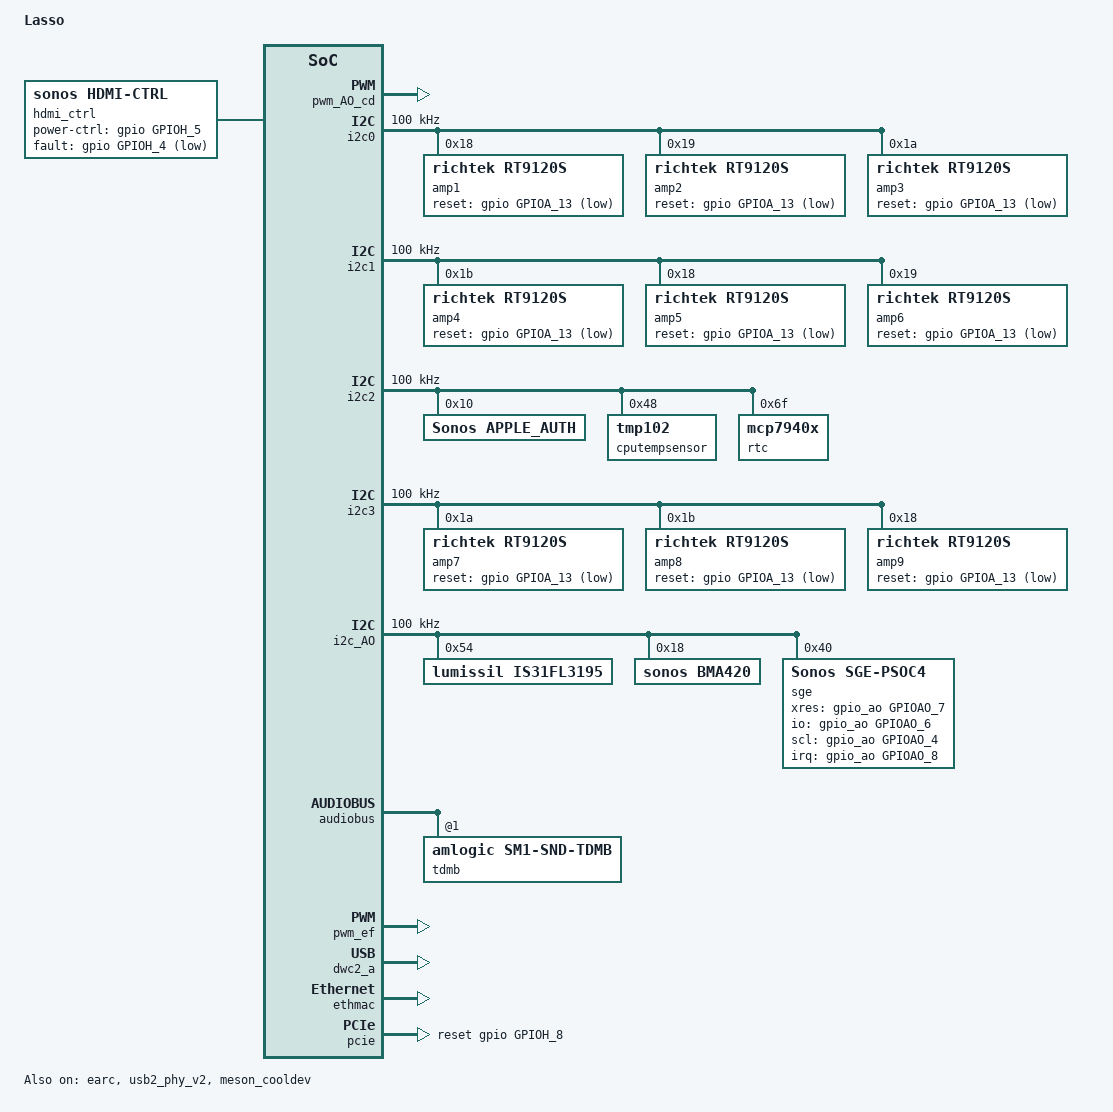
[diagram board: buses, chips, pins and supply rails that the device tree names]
/*
 * Copyright (c) 2022-2023, Sonos, Inc.
 *
 * SPDX-License-Identifier:     GPL-2.0
 *
 */
/dts-v1/;

#include "sm1_s905d3_ac200_drm.dts"

/ {
	model = "Lasso";
	amlogic-dt-id = "sm1_ac200_2g";
	compatible = "amlogic, g12a";
	interrupt-parent = <&gic>;
	#address-cells = <2>;
	#size-cells = <2>;

	sonos-product-id = <0x05>;

	dolby_fw {
		compatible = "amlogic, dolby_fw";
		mem_size = <0x100000>;
		status = "enabled";
	};

	sonos-platform {
		/* Sonos platform specific values for shared driver source & binaries */
		sonos-ampctl {
			/* Alpine has one amp fault.  It has three control lines.*/
			status = "okay";
			hw-inits-index = <1>;
			hw-exits-index = <1>;
			using-i2c-amp;
			ignore-startup-faults;
			allow-auto-recovery;

			sonos-ampfaults {
				num-faults = <0x01>;
				status = "okay";

				ampfault@0 {
					fault-gpio = <&gpio GPIOA_12 GPIO_ACTIVE_LOW>;
					fault-flags = <IRQ_TYPE_EDGE_FALLING>;
					fault-label = "Amp fault";
				};
			};
		};

		misc-gpio {
			pairing-button  = <&gpio GPIOX_13 GPIO_ACTIVE_LOW>;
			no-irq;
			wall-mount = <&gpio GPIOZ_15 GPIO_ACTIVE_HIGH>;
		};
		gpio-switch {
			compatible = "sonos,gpio-switch";
			micmute = <&gpio_ao GPIOAO_9 GPIO_ACTIVE_HIGH>;
		};
		simulated-buttons {
			/* event-sources are offsets from EVTSOURCE_BUTTON_PLAYPAUSE
			 * some generate an event for more than one source
			 */
			power {
				event-sources = <5>;
				no-repeat-sim;
			};
			pairing {
				event-sources = <7>;
				no-repeat-sim;
			};
		};
		thermal-mgmt {
			CPU {
				fault-temperature = <95>;
				warn-temperature = <91>;
				compatible = "sonos,temp-ncu15";
				adc-channel = <1>;
				temperature-map {
					num-ranges = <10>;
					// max mV for range, a in range, b in range
					//   (linear ax +- b)
					//
					map-values = <  1000	375	398060
							1500	249	273050
							2000	254	279520
							2400	271	313370
							2750	305	395220
							3000	358	540770
							3250	448	811180
							3500	605	1323700
							3700	1095	3039800
							4096	1386	4118700 >;
				};
			};
			SOC {
				compatible = "amlogic, s767_temp";
				fault-temperature = <105>;
				warn-temperature = <105>;
			};
		};
		psoc_gpios: gpiochip4 {
			compatible = "sonos,psoc-gpio";
			gpio-controller;
			num-gpios = <1>;
			#gpio-cells = <2>;
			status = "okay";
		};
		micctl_gpio:sonos-gpio-micctl {
			compatible = "sonos,gpio-mics";
			micctl-gpio = <&psoc_gpios 0 GPIO_ACTIVE_HIGH>;
		};
		micctl@1 {
			compatible = "sonos,micctl";
			micctl-device = <&micctl_gpio>;
		};
	};

	hdmi_ctrl {
		compatible = "sonos,hdmi-ctrl";
		power-ctrl-gpio = <&gpio GPIOH_5 GPIO_ACTIVE_HIGH>;
		fault-gpio = <&gpio GPIOH_4 GPIO_ACTIVE_LOW>;
		songle-adc-device = <0>;
		songle-adc-channel = <3>;
		/* Nominal Songle voltage = 110/2^10*1.8V = 194mV */
		songle-adc-high = <160>;        /* 150/2^10*1.8V = 264mV */
		songle-adc-low = <120>;          /* 70/2^10*1.8V = 123mV */
		status = "okay";
	};

	meson-ir {
		status = "okay";
		protocol = <REMOTE_TYPE_RAW_NEC>;
		pinctrl-names = "default";
	};

	ir-rcvr {
		compatible = "sonos,ir-rcvr";
		status = "okay";
	};
	thermal-zones {
		cputhermal: cputhermal {
			polling-delay-passive = <1000>;
			polling-delay = <1000>;
			/* sensor ID */
			thermal-sensors = <&cputempsensor 0>;
		};
	};

	aliases {
		serial0 = &uart_AO;
		serial1 = &uart_A;
		serial2 = &uart_B;
		serial3 = &uart_C;
		serial4 = &uart_AO_B;
		tsensor0 = &p_tsensor;
		tsensor1 = &d_tsensor;
		i2c0 = &i2c0;
		i2c1 = &i2c1;
		i2c2 = &i2c2;
		i2c3 = &i2c3;
		i2c4 = &i2c_AO;
		spicc0 = &spicc0;
		spicc1 = &spicc1;
	};

	bt-dev{
		compatible = "amlogic, bt-dev";
		dev_name = "bt-dev";
		status = "disabled";
		gpio_reset = <&gpio       GPIOX_17       GPIO_ACTIVE_HIGH>;
		gpio_hostwake = <&gpio       GPIOX_19       GPIO_ACTIVE_HIGH>;
	};

	amvdec_656in {
		status = "disabled";

		bt656in1 {
			status = "disabled";
		};
	};

	amlvecm {
		compatible = "amlogic, vecm";
		dev_name = "aml_vecm";
		status = "okay";
		gamma_en = <0>;/*1:enabel ;0:disable*/
		wb_en = <0>;/*1:enabel ;0:disable*/
		cm_en = <0>;/*1:enabel ;0:disable*/
		/*0: 709/601  1: bt2020*/
		tx_op_color_primary = <0>;
	};

	amdolby_vision {
		compatible = "amlogic, dolby_vision_sm1";
		dev_name = "aml_amdolby_vision_driver";
		status = "okay";
		tv_mode = <0>;/*1:enabel ;0:disable*/
	};

	/* --------------- Audio Related start --------------- */
	tdm_codec:dummy {
		#sound-dai-cells = <0>;
		compatible = "amlogic,aml_dummy_codec";
		stream-name = "0-dac";
		rate = <44100>;    /* We use 44.1 KHz as the audio output rate */
		format = "S32_LE"; /* We use signed 24-bit little endian samples in a 32-bit word */
		channels = <24>;    /* Number of playback channels on Lasso is 15 (3 lanes of 3 amps x 2 ch each)
							  plus 2 unused channels on each lane. */
		status = "okay";
	};
	pdm_codec:dummy {
		#sound-dai-cells = <0>;
		compatible = "amlogic,pdm_dummy_codec";
		stream-name = "1-mic";
		rate = <48000>;    /* We use 48 KHz as the audio input rate. */
		format = "S32_LE"; /* We use signed 24-bit little endian samples in 32-bit words */
		channels = <6>;    /* Number of capture channels on Lasso is 6 */
		capture;           /* Set the stream direction to capture. Note: Default without this boolean flag 
							  is playback */
		status = "okay";
	};
	earc_codec:dummy{
		#sound-dai-cells = <0>;
		compatible = "amlogic, aml_dummy_codec";
		capture;
		status = "okay";
	};

	audiolocker: locker {
		compatible = "amlogic, audiolocker";
		clocks = <&clkaudio CLKID_AUDIO_LOCKER_OUT
				&clkaudio CLKID_AUDIO_LOCKER_IN
				&clkaudio CLKID_AUDIO_MCLK_D
				&clkaudio CLKID_AUDIO_MCLK_E
				&clkc CLKID_MPLL1
				&clkc CLKID_MPLL2>;
		clock-names = "lock_out", "lock_in", "out_src",
					"in_src", "out_calc", "in_ref";
		interrupts = <GIC_SPI 1 IRQ_TYPE_EDGE_RISING>;
		interrupt-names = "irq";
		frequency = <49000000>; /* pll */
		dividor = <49>; /* locker's parent */
		status = "disabled";
	};

	tuner: tuner {
		compatible = "amlogic, tuner";
		status = "disabled";
		tuner_name = "mxl661_tuner";
		tuner_i2c_adap = <&i2c1>;
		tuner_i2c_addr = <0x60>;
		tuner_xtal = <0>; /* 0: 16MHz, 1: 24MHz */
		tuner_xtal_mode = <0>;
					/* NO_SHARE_XTAL(0)
					 * SLAVE_XTAL_SHARE(1)
					 */
		tuner_xtal_cap = <30>; /* when tuner_xtal_mode = 1, set 25 */
	};


	sonos_rollback:sonos-rollback@ff800000 {
		compatible = "sonos,sonos-rollback";
		reg = <0x0 0xff800000 0x0 0x4>;
		offset = <0x00>;
		shift = <0>;
	};

	efuse: efuse {
		compatible = "amlogic, efuse";
		read_cmd = <0x82000030>;
		write_cmd = <0x82000031>;
		get_max_cmd = <0x82000033>;
		read_obj_cmd = <0x82000038>;
		write_obj_cmd = <0x82000039>;
		mem_in_base_cmd = <0x82000020>;
		mem_out_base_cmd = <0x82000021>;
		key = <&efusekey>;
		clocks = <&clkc CLKID_EFUSE>;
		clock-names = "efuse_clk";
		status = "okay";
	};

	cpu_iomap {
		compatible = "amlogic, iomap";
		#address-cells=<2>;
		#size-cells=<2>;
		ranges;
		io_cbus_base {
			reg = <0x0 0xffd00000 0x0 0x26fff>;
		};
		io_apb_base {
			reg = <0x0 0xffe01000 0x0 0x7f000>;
		};
		io_aobus_base {
			reg = <0x0 0xff800000 0x0 0xb000>;
		};
		io_vapb_base {
			reg = <0x0 0xff900000 0x0 0x50000>;
		};
		io_hiu_base {
			reg = <0x0 0xff63c000 0x0 0x2000>;
		};
	};

	auge_sound {
		/delete-property/ avout_mute-gpios;
		/delete-node/ aml-audio-card,dai-link@0;
		/delete-node/ aml-audio-card,dai-link@2;
		// /delete-node/ aml-audio-card,dai-link@4;
		// /delete-node/ aml-audio-card,dai-link@5;

		aml-audio-card,dai-link@1 {
			format = "dsp_b";
			mclk-fs = <1024>;
			//continuous-clock;
			//bitclock-inversion;
			//frame-inversion;
			/* master mode */
			bitclock-master = <&tdmb>;
			frame-master = <&tdmb>;
			/* slave mode */
			//bitclock-master = <&tdmbcodec>;
			//frame-master = <&tdmbcodec>;
			/* suffix-name, sync with android audio hal
			 * what's the dai link used for
			 */
			suffix-name = "alsaPORT-pcm";

			/* suspend disable clk */
			/* FIXME revisit */
			suspend-clk-off = <1>;

			cpu {
				sound-dai = <&tdmb>;
				// Lasso: at most, 6 channels are used in each lane (3 stereo amps), but we need to configure
				// it for 8 channels so that the current sensing ADC for MBB are run at the right rate.
				dai-tdm-slot-tx-mask =
							<1 1 1 1 1 1 1 1>;
				dai-tdm-slot-rx-mask =
							<1 1 0 0 0 0 0 0>;
				dai-tdm-slot-num = <8>;
				dai-tdm-slot-width = <32>;
				system-clock-frequency = <45158400>;  // 1024 x 44,100 (8ch @11.2MHz, 4ch @5.6MHz)
			};
			tdmbcodec: codec {
				prefix-names = "Sonos TDM out";
				sound-dai = <&tdm_codec &tdm_codec>;
			};
		};

		aml-audio-card,dai-link@6 {
			mclk-fs = <256>;
			continuous-clock;
			suffix-name = "alsaPORT-earc";
			cpu {
				sound-dai = <&earc>;
				system-clock-frequency = <12288000>;
			};
			codec {
				sound-dai = <&dummy_codec>;
			};
		};
	};

	pwm_psoc: pwm@0 {
		compatible = "sonos,psoc-pwm";
		#pwm-cells = <3>;
		label = "pwm-psoc";
		status = "okay";
	};

	pwm_micro {
		pwms = <&pwm_psoc 0 1000 0>;
		status = "disabled";
	};
};

&soc {
	/delete-node/ t9015;
};

&pwm_AO_cd {
		status = "okay";
};

&i2c0 {
	status = "okay";
	pinctrl-names="default";
	pinctrl-0=<&i2c0_sda_c_pins>, <&i2c0_sck_c_pins>;
	clock-frequency = <100000>;

	/* Richtek AMPS
	 * rt9120s
	 * Nine amps, amp4 & amp5 use PBTL mode and the rest use BTL mode
	 */
	amp1: rt9120s@18 {
		compatible = "richtek,rt9120s";
		reg = <0x18>;
		dev-id = <0x1>;
		first-amp-devid = <7>;
		shared-reset;
		mask-faults;
		reset-gpio = <&gpio GPIOA_13 GPIO_ACTIVE_LOW>;
		post-reset-delay = <10>;
		stage-delay = <20>;
		post-pause-delay = <100>;
		number-init-stages = <2>;
		init-sequence-length1 = <1>;
		reg-init1 = <0x40 0x80>;
		init-sequence-length2 = <15>;
		reg-init2 = < 0x63 0xDE 0x6C 0xC0 0x07 0x36 0x65 0x66 0x06 0x28
			0x02 0x03 0xA0 0x01 0xA1 0x08 0xA2 0x0C 0x27 0x01B0
			0x20 0x0180 0x0C 0x38 0x09 0x81 0x6E 0x1D 0x10 0x00>;
		play-a1-a2 = <0x00 0x04>;
		status = "okay";
	};

	amp2: rt9120s@19 {
		compatible = "richtek,rt9120s";
		reg = <0x19>;
		dev-id = <0x2>;
		first-amp-devid = <7>;
		shared-reset;
		reset-gpio = <&gpio GPIOA_13 GPIO_ACTIVE_LOW>;
		post-reset-delay = <10>;
		stage-delay = <20>;
		post-pause-delay = <100>;
		number-init-stages = <2>;
		init-sequence-length1 = <1>;
		reg-init1 = <0x40 0x80>;
		init-sequence-length2 = <15>;
		reg-init2 = < 0x63 0xDE 0x6C 0xC0 0x07 0x36 0x65 0x66 0x06 0x28
			0x02 0x03 0xA0 0x01 0xA1 0x08 0xA2 0x0C 0x27 0x01B0
			0x20 0x0180 0x0C 0x38 0x09 0x81 0x6E 0x1D 0x10 0x00>;
		play-a1-a2 = <0x08 0x0C>;
		status = "okay";
	};

	amp3: rt9120s@1a {
		compatible = "richtek,rt9120s";
		reg = <0x1a>;
		dev-id = <0x3>;
		first-amp-devid = <7>;
		shared-reset;
		reset-gpio = <&gpio GPIOA_13 GPIO_ACTIVE_LOW>;
		post-reset-delay = <10>;
		stage-delay = <20>;
		post-pause-delay = <100>;
		number-init-stages = <2>;
		init-sequence-length1 = <1>;
		reg-init1 = <0x40 0x80>;
		init-sequence-length2 = <15>;
		reg-init2 = < 0x63 0xDE 0x6C 0xC0 0x07 0x36 0x65 0x66 0x06 0x28
			0x02 0x03 0xA0 0x01 0xA1 0x08 0xA2 0x0C 0x27 0x01B0
			0x20 0x0180 0x0C 0x38 0x09 0x81 0x6E 0x1D 0x10 0x00>;
		play-a1-a2 = <0x10 0x14>;
		status = "okay";
	};
};

&i2c1 {
	status = "okay";
	pinctrl-names="default";
	pinctrl-0=<&i2c1_sda_x_pins>, <&i2c1_sck_x_pins>;
	clock-frequency = <100000>;

	amp4: rt9120s@1b {
		compatible = "richtek,rt9120s";
		reg = <0x1b>;
		dev-id = <0x4>;
		first-amp-devid = <7>;
		shared-reset;
		parallel-play;
		reset-gpio = <&gpio GPIOA_13 GPIO_ACTIVE_LOW>;
		post-reset-delay = <10>;
		stage-delay = <20>;
		post-pause-delay = <100>;
		number-init-stages = <2>;
		init-sequence-length1 = <1>;
		reg-init1 = <0x40 0x80>;
		init-sequence-length2 = <17>;
		reg-init2 = < 0x63 0xDE 0x6C 0xC0 0x07 0x36 0x65 0x77 0x06 0x28
			0x02 0x03 0xA0 0x01 0xA1 0x08 0xA2 0x0C 0x15 0x40
			0x64 0x59 0x27 0x01B0 0x20 0x0180 0x0C 0x38 0x09 0x81
			0x6E 0x1D 0x10 0x00>;
		play-a1-a2 = <0x00 0x04>;
		status = "okay";
	};

	amp5: rt9120s@18 {
		compatible = "richtek,rt9120s";
		reg = <0x18>;
		dev-id = <0x5>;
		first-amp-devid = <7>;
		shared-reset;
		parallel-play;
		reset-gpio = <&gpio GPIOA_13 GPIO_ACTIVE_LOW>;
		post-reset-delay = <10>;
		stage-delay = <20>;
		post-pause-delay = <100>;
		number-init-stages = <2>;
		init-sequence-length1 = <1>;
		reg-init1 = <0x40 0x80>;
		init-sequence-length2 = <17>;
		reg-init2 = < 0x63 0xDE 0x6C 0xC0 0x07 0x36 0x65 0x77 0x06 0x28
			0x02 0x03 0xA0 0x01 0xA1 0x08 0xA2 0x0C 0x15 0x40
			0x64 0x59 0x27 0x01B0 0x20 0x0180 0x0C 0x38 0x09 0x81
			0x6E 0x1D 0x10 0x00>;
		play-a1-a2 = <0x00 0x04>;
		status = "okay";
	};

	amp6: rt9120s@19 {
		compatible = "richtek,rt9120s";
		reg = <0x19>;
		dev-id = <0x6>;
		first-amp-devid = <7>;
		shared-reset;
		reset-gpio = <&gpio GPIOA_13 GPIO_ACTIVE_LOW>;
		post-reset-delay = <10>;
		stage-delay = <20>;
		post-pause-delay = <100>;
		number-init-stages = <2>;
		init-sequence-length1 = <1>;
		reg-init1 = <0x40 0x80>;
		init-sequence-length2 = <15>;
		reg-init2 = < 0x63 0xDE 0x6C 0xC0 0x07 0x36 0x65 0x66 0x06 0x28
			0x02 0x03 0xA0 0x01 0xA1 0x08 0xA2 0x0C 0x27 0x01B0
			0x20 0x0180 0x0C 0x38 0x09 0x81 0x6E 0x1D 0x10 0x00>;
		play-a1-a2 = <0x08 0x0C>;
		status = "okay";
	};
};

&i2c2 {
	status = "okay";
	pinctrl-names="default";
	pinctrl-0=<&i2c2_sda_x_pins>, <&i2c2_sck_x_pins>;
	clock-frequency = <100000>;

	apple_auth@0 {
		compatible = "Sonos,apple_auth";
		reg = <0x10>;
	};

	cputempsensor: tmp102@48 {
		compatible = "tmp102";
		reg = <0x48>;
		device_type="CPU";
		#thermal-sensor-cells = <1>;
    };

	rtc: mcp7940x@6f {
		compatible = "mcp7940x";
		reg = <0x6f>;
		interrupt-parent = <&gpio_intc>;
		interrupts = <GPIOAO_4 IRQ_TYPE_EDGE_FALLING>;
	};
};

&i2c3 {
	status = "okay";
	pinctrl-names = "default";
	pinctrl-0 = <&i2c3_sda_a_pins>, <&i2c3_sck_a_pins>;
	clock-frequency = <100000>; /* default 100k */

	/delete-node/ ad82584f@31;

	amp7: rt9120s@1a {
		compatible = "richtek,rt9120s";
		reg = <0x1a>;
		dev-id = <0x7>;
		first-amp-devid = <7>;
		shared-reset;
		reset-gpio = <&gpio GPIOA_13 GPIO_ACTIVE_LOW>;
		post-reset-delay = <10>;
		stage-delay = <20>;
		post-pause-delay = <100>;
		number-init-stages = <2>;
		init-sequence-length1 = <1>;
		reg-init1 = <0x40 0x80>;
		init-sequence-length2 = <15>;
		reg-init2 = < 0x63 0xDE 0x6C 0xC0 0x07 0x36 0x65 0x66 0x06 0x28
			0x02 0x03 0xA0 0x01 0xA1 0x08 0xA2 0x0C 0x27 0x01B0
			0x20 0x0180 0x0C 0x38 0x09 0x81 0x6E 0x1D 0x10 0x00>;
		play-a1-a2 = <0x00 0x04>;
		status = "okay";
	};

	amp8: rt9120s@1b {
		compatible = "richtek,rt9120s";
		reg = <0x1b>;
		dev-id = <0x8>;
		first-amp-devid = <7>;
		shared-reset;
		reset-gpio = <&gpio GPIOA_13 GPIO_ACTIVE_LOW>;
		post-reset-delay = <10>;
		stage-delay = <20>;
		post-pause-delay = <100>;
		number-init-stages = <2>;
		init-sequence-length1 = <1>;
		reg-init1 = <0x40 0x80>;
		init-sequence-length2 = <15>;
		reg-init2 = < 0x63 0xDE 0x6C 0xC0 0x07 0x36 0x65 0x66 0x06 0x28
			0x02 0x03 0xA0 0x01 0xA1 0x08 0xA2 0x0C 0x27 0x01B0
			0x20 0x0180 0x0C 0x38 0x09 0x81 0x6E 0x1D 0x10 0x00>;
		play-a1-a2 = <0x08 0x0C>;
		status = "okay";
	};

	amp9: rt9120s@18 {
		compatible = "richtek,rt9120s";
		reg = <0x18>;
		dev-id = <0x9>;
		first-amp-devid = <7>;
		shared-reset;
		reset-gpio = <&gpio GPIOA_13 GPIO_ACTIVE_LOW>;
		post-reset-delay = <10>;
		stage-delay = <20>;
		post-pause-delay = <100>;
		number-init-stages = <2>;
		init-sequence-length1 = <1>;
		reg-init1 = <0x40 0x80>;
		init-sequence-length2 = <15>;
		reg-init2 = < 0x63 0xDE 0x6C 0xC0 0x07 0x36 0x65 0x66 0x06 0x28
			0x02 0x03 0xA0 0x01 0xA1 0x08 0xA2 0x0C 0x27 0x01B0
			0x20 0x0180 0x0C 0x38 0x09 0x81 0x6E 0x1D 0x10 0x00>;
		play-a1-a2 = <0x10 0x14>;
		status = "okay";
	};
};

&i2c_AO {
	status = "okay";
	pinctrl-names="default";
	pinctrl-0=<&i2c_ao_sck_pins>;
	clock-frequency = <100000>;

	is31fl3195@54 {  // LED controller
		compatible = "lumissil,is31fl3195";
		status = "okay";
		reg = <0x54>;
	};

	bma420@0 {  // accelerometer
		compatible = "sonos,bma420";
		status = "okay";
		reg = <0x18>;
		motion-detection-mode;
		music-impacts-z-axis;
		reinit-on-resume;
	};

	sge@0 {  // Sigdetail Gesture Engine
		compatible = "Sonos,sge-psoc4";
		pinctrl-names = "mode-uart-hiz", "mode-flow-ctrl";
		pinctrl-0 = <>;
		pinctrl-1 = <>;
		reg = <0x40>;
		gpio-addr = <0xff800000 0x130 0x34 0x0 0x28 0x34 0x0 0x28>;
		gpio-params = "base-addr", "len", "io-set", "io-clr", "io-din", "scl-set", "scl-clr", "scl-din";
		scl-bitmask =  <0x000010>;
		io-bitmask  =  <0x000040>;
		xres-gpio = <&gpio_ao GPIOAO_7 GPIO_ACTIVE_HIGH>;
		io-gpio   = <&gpio_ao GPIOAO_6 GPIO_ACTIVE_HIGH>;
		scl-gpio  = <&gpio_ao GPIOAO_4 GPIO_ACTIVE_HIGH>;
		irq-gpio  = <&gpio_ao GPIOAO_8 GPIO_ACTIVE_HIGH>;
		share-swd-uart = <0>;
		psoc-rtc = <0>;
		leanui-layout-proto;
		psoc-flash-verify-disabled;
		status = "okay";


		psoc-images {
			image@0 {
				model-num = <4025>;
				ident = <0x1a>;
				flash-rows = <256>;
				flash-row-size = <128>;
				flash-protection-size = <32>;
			};
		};

	};
};

&spicc0 {
	status = "disabled";
};

&spicc1 {
	status = "disabled";
};

&audiobus {
	/delete-node/ tdma;
	/delete-node/ tdmc;
	/delete-node/ tdm@0;
	/delete-node/ tdm@2;
	// /delete-node/ spdifa;
	// /delete-node/ spdifb;
	// /delete-node/ spdif@0;
	// /delete-node/ spdif@1;

	tdmb: tdm@1 {
			compatible = "amlogic, sm1-snd-tdmb";
			#sound-dai-cells = <0>;
			dai-tdm-lane-slot-mask-in = <0 0 0 1>;
			dai-tdm-lane-slot-mask-out = <1 1 1 0>;
			//dai-tdm-lane-slot-mask-in = <0 0 0 0 0 0 0 0>;
			//dai-tdm-lane-slot-mask-out = <1 1 1 1 1 1 1 1>;
			dai-tdm-clk-sel = <1>;
			clocks = <&clkaudio CLKID_AUDIO_MCLK_B
					&clkaudio CLKID_AUDIO_MCLK_PAD1
					&clkc CLKID_MPLL1
					&clkc CLKID_MPLL0
					&clkaudio CLKID_AUDIO_SPDIFOUT_A>;
			clock-names = "mclk", "mclk_pad", "clk_srcpll",
				"samesource_srcpll", "samesource_clk";
			pinctrl-names = "tdm_pins";

			pinctrl-0 = <&tdm_b_dout0_pins
						&tdm_b_dout1_pins
						&tdm_b_dout2_pins
						&tdm_b_din3_a_pins
						&tdm_b_sclk_pins
						&tdm_b_fs_pins
						&tdm_b_clk_pins>;

			/*
			 * 0: tdmout_a;
			 * 1: tdmout_b;
			 * 2: tdmout_c;
			 * 3: spdifout;
			 * 4: spdifout_b;
			 */
			samesource_sel = <3>;

			/*enable default mclk(12.288M)*/
			start_clk_enable = <1>;

			/*tdm clk tuning enable*/
			clk_tuning_enable = <1>;

			/* FIXME suspend disable clk */
			suspend-clk-off = <1>;
	};

	apdm: pdm {
		pinctrl-0 = <&pdm_din0_c_pins
					&pdm_din1_c_pins
					&pdm_din2_c_pins
					&pdm_din3_c_pins
					&pdm_dclk_c_pins>;

		/* mode 0~4, defalut:1 */
		filter_mode = <1>;
		train_sample_count = <0x2>;

		status = "okay";
	};
}; /* end of audiobus */

&earc {
	status = "okay";
};

/* Audio Related End */

&pwm_ef {
	status = "okay";
};

&dwc3 {
	status = "disabled";
};

&usb2_phy_v2 {
	status = "okay";
	portnum = <2>;
};

&usb3_phy_v2 {
	status = "disabled";
	portnum = <1>;
	otg = <1>;
};

&dwc2_a {
	status = "okay";
	/** 0: normal, 1: otg+dwc3 host only, 2: otg+dwc3 device only*/
	controller-type = <3>;
};
&ethmac {
	status = "okay";
	//pinctrl-names = "internal_eth_pins";
	//pinctrl-0 = <&internal_eth_pins>;
	mc_val = <0x4be04>;
	internal_phy=<1>;
	mac_wol = <1>;
};

&uart_A {
	status = "disabled";
};

&meson_cooldev {
	status = "okay";
};

&sd_emmc_b {
        status = "disabled";
};

&aml_wifi {
	status = "disabled";
};

&pcie {
        compatible = "amlogic, amlogic-pcie-v2";
        reset-gpio = <&gpio GPIOH_8 GPIO_ACTIVE_HIGH>;
        speed-mod = <1>;
        gpio-type = <1>; /* reset gpio type : OD */
        status = "okay";
};

&periphs_pinctrl {
	hdmitx_hpd_gpio: hdmitx_hpd_gpio {
		mux {
			groups = "GPIOH_2";
			function = "gpio_periphs";
			bias-disable;
		};
	};
};
